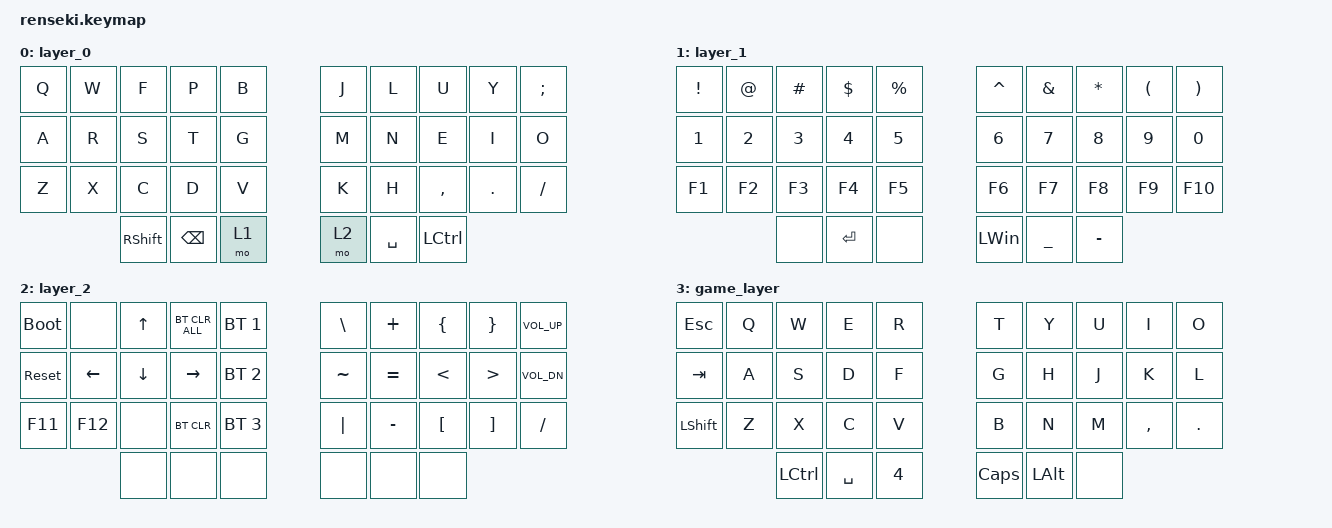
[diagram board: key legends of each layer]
#include <behaviors.dtsi>
#include <dt-bindings/zmk/keys.h>
#include <dt-bindings/zmk/bt.h>
#include <dt-bindings/zmk/outputs.h>

// Modified keymap based on personal experience, with some improvements based on Miryoku layout.

#define layer_0  0
#define layer_1  1
#define layer_2  2
#define game      3

// Autoshift Macro definition
#define AS(keycode) &as LS(keycode) keycode     

/ {
    /* * Auto Shift behavior 
     * Allows tapping for lowercase and holding for uppercase
     */
    behaviors {
        as: auto_shift {
            compatible = "zmk,behavior-hold-tap";
            label = "AUTO_SHIFT";
            #binding-cells = <2>;
            tapping-term-ms = <200>;
            quick-tap-ms = <0>;
            flavor = "tap-preferred";
            bindings = <&kp>, <&kp>;
        };
    };

    combos {
        compatible = "zmk,combos";

        /*
         * Key positions for 36-key 3x5+3 layout:
         * 0  1  2  3  4      5  6  7  8  9
         * 10 11 12 13 14    15 16 17 18 19
         * 20 21 22 23 24    25 26 27 28 29
         *       30 31 32    33 34 35
         */

        combo_enter {
            bindings = <&kp ENTER>;
            key-positions = <31 32>; // Thumb keys
        };
        combo_capslock {
            bindings = <&kp CAPSLOCK>;
            key-positions = <30 35>; // Outer thumb keys
        };
        combo_esc {
            bindings = <&kp ESC>;
            key-positions = <0 1>;   // Q and W
        };
        combo_alttab {
            bindings = <&kp LA(TAB)>;
            key-positions = <31 34>; // Inner thumb keys
        };
        combo_screenshot {
            bindings = <&kp LG(LS(S))>;
            key-positions = <30 11 12 13>; // Complex combo
        };
        combo_game {
            bindings = <&tog 3>;
            key-positions = <32 33>; // Transition thumbs
        };
    };

    keymap {
        compatible = "zmk,keymap";

        layer_0 {
            bindings = <
    &kp Q       &kp W       &kp F       &kp P           &kp B           &kp J       &kp L       &kp U       &kp Y           &kp SEMI
    &kp A       &kp R       &kp S       &kp T           &kp G           &kp M       &kp N       &kp E       &kp I           &kp O
    &kp Z       &kp X       &kp C       &kp D           &kp V           &kp K       &kp H       &kp COMMA   &kp DOT         &kp FSLH
                            &kp RSHFT   &kp BSPC        &mo 1           &mo 2       &kp SPACE   &kp LCTRL
            >;
        };

        layer_1 {
            bindings = <
    &kp EXCL    &kp AT      &kp HASH    &kp DLLR        &kp PRCNT       &kp CARET   &kp AMPS    &kp ASTRK   &kp LPAR        &kp RPAR
    &kp N1      &kp N2      &kp N3      &kp N4          &kp N5          &kp N6      &kp N7      &kp N8      &kp N9          &kp N0
    &kp F1      &kp F2      &kp F3      &kp F4          &kp F5          &kp F6      &kp F7      &kp F8      &kp F9          &kp F10
                                        &none           &kp ENTER       &none       &kp LWIN    &kp UNDER   &kp MINUS
            >;
        };

        layer_2 {
            bindings = <
    &bootloader  &none       &kp UP      &bt BT_CLR_ALL  &bt BT_SEL 1    &kp BSLH    &kp PLUS    &kp LBRC    &kp RBRC    &kp C_VOL_UP
    &sys_reset   &kp LEFT    &kp DOWN    &kp RIGHT       &bt BT_SEL 2    &kp TILDE   &kp EQUAL   &kp LT      &kp GT      &kp C_VOL_DN
    &kp F11      &kp F12     &none       &bt BT_CLR      &bt BT_SEL 3    &kp PIPE    &kp MINUS   &kp LBKT    &kp RBKT    &kp FSLH
                                         &none           &none           &none       &none       &none       &none       
            >;
        };

        game_layer {
            bindings = <
    &kp ESC     &kp Q       &kp W       &kp E       &kp R        &kp T        &kp Y        &kp U      &kp I      &kp O
    &kp TAB     &kp A       &kp S       &kp D       &kp F        &kp G        &kp H        &kp J      &kp K      &kp L
    &kp LSHFT   &kp Z       &kp X       &kp C       &kp V        &kp B        &kp N        &kp M      &kp COMMA  &kp DOT
                                        &kp LCTRL   &kp SPACE    &kp N4       &kp CAPS     &kp LALT   &none
            >;
        };
    };
};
